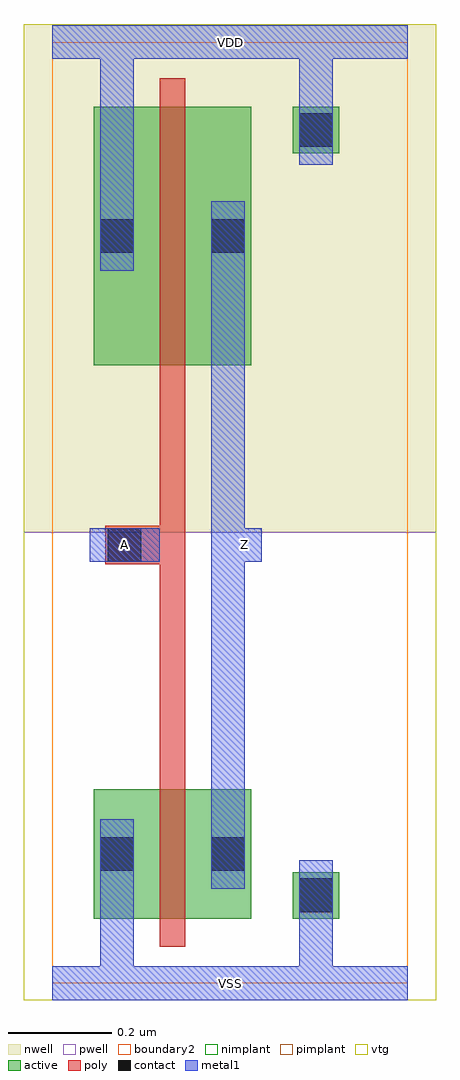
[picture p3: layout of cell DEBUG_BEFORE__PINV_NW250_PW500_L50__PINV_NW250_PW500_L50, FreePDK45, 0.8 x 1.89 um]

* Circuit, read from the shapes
.subckt DEBUG_BEFORE__PINV_NW250_PW500_L50__PINV_NW250_PW500_L50 A VDD VSS Z
M1 Z A VSS VSS nfet w=0.25u l=0.05u
M2 Z A VDD VDD pfet w=0.5u l=0.05u
.ends

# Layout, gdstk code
import gdstk
lib = gdstk.Library(unit=1e-6, precision=5e-10)
def R(c, l, rs):  # rectangles x0, y0, x1, y1
    for r in rs: c.add(gdstk.rectangle(r[:2], r[2:], *l))
active = (1, 0)
pwell = (2, 0)
nwell = (3, 0)
nimplant = (4, 0)
pimplant = (5, 0)
vtg = (6, 0)
poly = (9, 0)
contact = (10, 0)
metal1 = (11, 0)
boundary2 = (239, 0)

debug_before__pinv_nw250 = lib.new_cell('DEBUG_BEFORE__PINV_NW250_PW500_L50__TRANSMISSION_GATE_NW250_PW500_L50_contact_8')
R(debug_before__pinv_nw250, active, [(0,0.0225,0.09,0.1125)])
R(debug_before__pinv_nw250, nwell, [(-0.055,-0.0325,0.145,0.1675)])
R(debug_before__pinv_nw250, pimplant, [(0,0.0225,0.09,0.1125)])
R(debug_before__pinv_nw250, contact, [(0.0125,0.035,0.0775,0.1)])
R(debug_before__pinv_nw250, metal1, [(0.0125,0,0.0775,0.135)])
R(debug_before__pinv_nw250, boundary2, [(-0.055,-0.0325,0.145,0.1675)])

c_debug_before__pinv_nw250 = lib.new_cell('DEBUG_BEFORE__PINV_NW250_PW500_L50__PINV_NW250_PW500_L50_pmos_m1_w0_500_sm1_dm1_da_p')
R(c_debug_before__pinv_nw250, active, [(0,0,0.305,0.5)])
R(c_debug_before__pinv_nw250, nwell, [(-0.08,-0.08,0.385,0.58)])
R(c_debug_before__pinv_nw250, pimplant, [(0,0,0.305,0.5)])
R(c_debug_before__pinv_nw250, vtg, [(-0.08,-0.08,0.385,0.58)])
R(c_debug_before__pinv_nw250, poly, [(0.1275,-0.055,0.1775,0.555), (0.1275,-0.055,0.1775,0.555)])
R(c_debug_before__pinv_nw250, metal1, [(0.0125,0.1825,0.0775,0.3175), (0.2275,0.1825,0.2925,0.3175)])
R(c_debug_before__pinv_nw250, boundary2, [(-0.08,-0.08,0.385,0.58)])
c_debug_before__pinv_nw250.add(gdstk.Reference(debug_before__pinv_nw250, (0,0.1825)))
c_debug_before__pinv_nw250.add(gdstk.Reference(debug_before__pinv_nw250, (0.215,0.1825)))
c_debug_before__pinv_nw250.add(gdstk.Label('G', (0.1525,0.25), layer=9, texttype=0))
c_debug_before__pinv_nw250.add(gdstk.Label('S', (0.045,0.25), layer=11, texttype=0))
c_debug_before__pinv_nw250.add(gdstk.Label('D', (0.26,0.25), layer=11, texttype=0))

c_debug_before__pinv_nw250_ = lib.new_cell('DEBUG_BEFORE__PINV_NW250_PW500_L50__TRANSMISSION_GATE_NW250_PW500_L50_contact_7')
R(c_debug_before__pinv_nw250_, active, [(0,0.0225,0.09,0.1125)])
R(c_debug_before__pinv_nw250_, pwell, [(-0.055,-0.0325,0.145,0.1675)])
R(c_debug_before__pinv_nw250_, nimplant, [(0,0.0225,0.09,0.1125)])
R(c_debug_before__pinv_nw250_, contact, [(0.0125,0.035,0.0775,0.1)])
R(c_debug_before__pinv_nw250_, metal1, [(0.0125,0,0.0775,0.135)])
R(c_debug_before__pinv_nw250_, boundary2, [(-0.055,-0.0325,0.145,0.1675)])

c_debug_before__pinv_nw250__ = lib.new_cell('DEBUG_BEFORE__PINV_NW250_PW500_L50__PINV_NW250_PW500_L50_nmos_m1_w0_250_sm1_dm1_da_p')
R(c_debug_before__pinv_nw250__, active, [(0,0,0.305,0.25)])
R(c_debug_before__pinv_nw250__, pwell, [(-0.08,-0.08,0.385,0.33)])
R(c_debug_before__pinv_nw250__, nimplant, [(0,0,0.305,0.25)])
R(c_debug_before__pinv_nw250__, vtg, [(-0.08,-0.08,0.385,0.33)])
R(c_debug_before__pinv_nw250__, poly, [(0.1275,-0.055,0.1775,0.305), (0.1275,-0.055,0.1775,0.305)])
R(c_debug_before__pinv_nw250__, metal1, [(0.0125,0.0575,0.0775,0.1925), (0.2275,0.0575,0.2925,0.1925)])
R(c_debug_before__pinv_nw250__, boundary2, [(-0.08,-0.08,0.385,0.33)])
c_debug_before__pinv_nw250__.add(gdstk.Reference(c_debug_before__pinv_nw250_, (0,0.0575)))
c_debug_before__pinv_nw250__.add(gdstk.Reference(c_debug_before__pinv_nw250_, (0.215,0.0575)))
c_debug_before__pinv_nw250__.add(gdstk.Label('G', (0.1525,0.125), layer=9, texttype=0))
c_debug_before__pinv_nw250__.add(gdstk.Label('S', (0.045,0.125), layer=11, texttype=0))
c_debug_before__pinv_nw250__.add(gdstk.Label('D', (0.26,0.125), layer=11, texttype=0))

c_debug_before__pinv_nw250___ = lib.new_cell('DEBUG_BEFORE__PINV_NW250_PW500_L50__TRANSMISSION_GATE_NW250_PW500_L50_contact_9')
R(c_debug_before__pinv_nw250___, active, [(0,0.0225,0.09,0.1125)])
R(c_debug_before__pinv_nw250___, nwell, [(-0.055,-0.0325,0.145,0.1675)])
R(c_debug_before__pinv_nw250___, nimplant, [(0,0.0225,0.09,0.1125)])
R(c_debug_before__pinv_nw250___, contact, [(0.0125,0.035,0.0775,0.1)])
R(c_debug_before__pinv_nw250___, metal1, [(0.0125,0,0.0775,0.135)])
R(c_debug_before__pinv_nw250___, boundary2, [(-0.055,-0.0325,0.145,0.1675)])

c_debug_before__pinv_nw250____ = lib.new_cell('DEBUG_BEFORE__PINV_NW250_PW500_L50__TRANSMISSION_GATE_NW250_PW500_L50_contact_10')
R(c_debug_before__pinv_nw250____, active, [(0,0.0225,0.09,0.1125)])
R(c_debug_before__pinv_nw250____, pwell, [(-0.055,-0.0325,0.145,0.1675)])
R(c_debug_before__pinv_nw250____, pimplant, [(0,0.0225,0.09,0.1125)])
R(c_debug_before__pinv_nw250____, contact, [(0.0125,0.035,0.0775,0.1)])
R(c_debug_before__pinv_nw250____, metal1, [(0.0125,0,0.0775,0.135)])
R(c_debug_before__pinv_nw250____, boundary2, [(-0.055,-0.0325,0.145,0.1675)])

c_debug_before__pinv_nw250_____ = lib.new_cell('DEBUG_BEFORE__PINV_NW250_PW500_L50__PINV_NW180_PW270_L50_contact_11')
R(c_debug_before__pinv_nw250_____, poly, [(0.03,0,0.105,0.075)])
R(c_debug_before__pinv_nw250_____, contact, [(0.035,0.005,0.1,0.07)])
R(c_debug_before__pinv_nw250_____, metal1, [(0,0.005,0.135,0.07)])
R(c_debug_before__pinv_nw250_____, boundary2, [(0,0,0.135,0.075)])

c_debug_before__pinv_nw250______ = lib.new_cell('DEBUG_BEFORE__PINV_NW250_PW500_L50__PINV_NW250_PW500_L50_core')
R(c_debug_before__pinv_nw250______, pwell, [(-0.055,-0.0325,0.7425,0.8725)])
R(c_debug_before__pinv_nw250______, nwell, [(-0.055,0.8725,0.7425,1.855)])
R(c_debug_before__pinv_nw250______, vtg, [(-0.055,-0.0325,0.7425,0.8725), (-0.055,0.8725,0.7425,1.855)])
R(c_debug_before__pinv_nw250______, poly, [(0.2075,0.43,0.2575,1.14), (0.14,0.81,0.2075,0.885)])
R(c_debug_before__pinv_nw250______, metal1, [(0,-0.0325,0.6875,0.0325), (0.0925,-0.0325,0.1575,0.1825), (0.4775,0,0.5425,0.17), (0.3075,0.1825,0.3725,1.5125), (0.0725,0.815,0.2075,0.88), (0.34,0.815,0.405,0.88), (0.0925,1.3775,0.1575,1.8525), (0.4775,1.65,0.5425,1.82), (0,1.7875,0.6875,1.8525)])
R(c_debug_before__pinv_nw250______, boundary2, [(0,0,0.6875,1.82), (0,0,0.6875,1.82)])
c_debug_before__pinv_nw250______.add(gdstk.Reference(c_debug_before__pinv_nw250, (0.08,1.195)))
c_debug_before__pinv_nw250______.add(gdstk.Reference(c_debug_before__pinv_nw250__, (0.08,0.125)))
c_debug_before__pinv_nw250______.add(gdstk.Reference(c_debug_before__pinv_nw250___, (0.465,1.5825)))
c_debug_before__pinv_nw250______.add(gdstk.Reference(c_debug_before__pinv_nw250____, (0.465,0.1025)))
c_debug_before__pinv_nw250______.add(gdstk.Reference(c_debug_before__pinv_nw250_____, (0.0725,0.81)))
c_debug_before__pinv_nw250______.add(gdstk.Label('A', (0.14,0.8475), layer=11, texttype=0))
c_debug_before__pinv_nw250______.add(gdstk.Label('Z', (0.3725,0.8475), layer=11, texttype=0))
c_debug_before__pinv_nw250______.add(gdstk.Label('gnd', (0.344,0), layer=11, texttype=0))
c_debug_before__pinv_nw250______.add(gdstk.Label('vdd', (0.344,1.82), layer=11, texttype=0))

c_debug_before__pinv_nw250_______ = lib.new_cell('DEBUG_BEFORE__PINV_NW250_PW500_L50__PINV_NW250_PW500_L50')
R(c_debug_before__pinv_nw250_______, metal1, [(0,-0.0325,0.6875,0.0325), (0.0725,0.815,0.2075,0.88), (0.34,0.815,0.405,0.88), (0,1.7875,0.6875,1.8525)])
R(c_debug_before__pinv_nw250_______, boundary2, [(0,0,0.6875,1.82)])
c_debug_before__pinv_nw250_______.add(gdstk.Reference(c_debug_before__pinv_nw250______, (0,0)))
c_debug_before__pinv_nw250_______.add(gdstk.Label('A', (0.14,0.8475), layer=11, texttype=0))
c_debug_before__pinv_nw250_______.add(gdstk.Label('Z', (0.3725,0.8475), layer=11, texttype=0))
c_debug_before__pinv_nw250_______.add(gdstk.Label('VDD', (0.344,1.82), layer=11, texttype=0))
c_debug_before__pinv_nw250_______.add(gdstk.Label('VSS', (0.344,0), layer=11, texttype=0))

lib.write_gds('DEBUG_BEFORE__PINV_NW250_PW500_L50__PINV_NW250_PW500_L50.gds')
